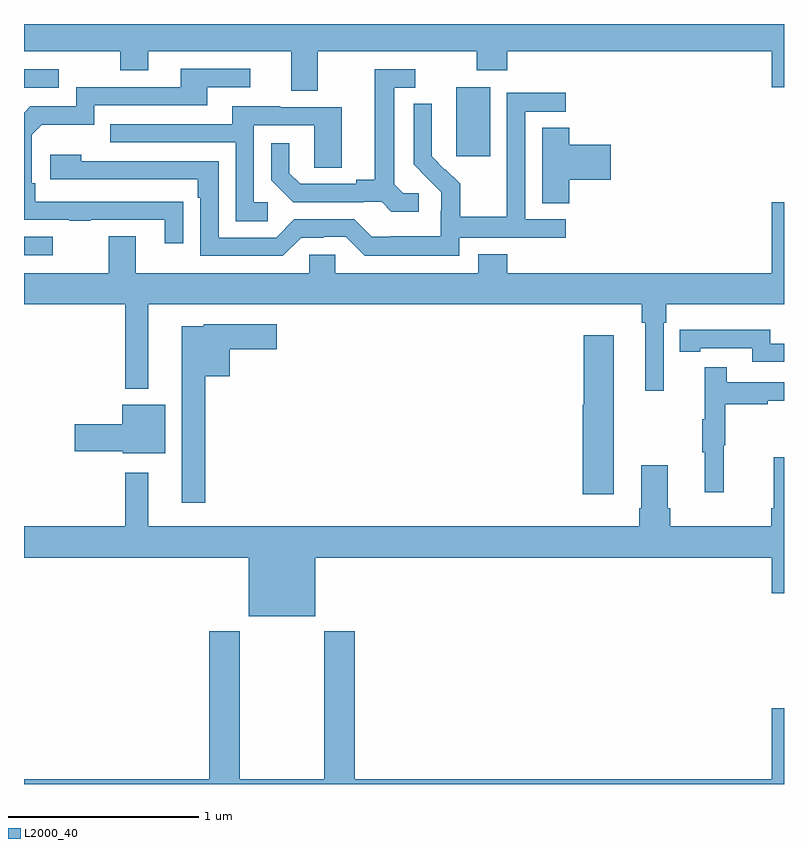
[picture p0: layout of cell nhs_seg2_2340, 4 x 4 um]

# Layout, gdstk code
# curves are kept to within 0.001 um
import gdstk
lib = gdstk.Library(unit=1e-6, precision=1e-09)
def R(c, l, rs):  # rectangles x0, y0, x1, y1
    for r in rs: c.add(gdstk.rectangle(r[:2], r[2:], *l))
def P(c, l, *ps):  # polygons
    for p in ps: c.add(gdstk.Polygon(p, *l))
L2000_40 = (2000, 40)

nhs_seg2_2340 = lib.new_cell('nhs_seg2_2340')
R(nhs_seg2_2340, L2000_40, [(233,626.583,233.152,626.679), (235.274,627.105,235.453,627.466), (233,627.465,233.182,627.561)])
P(nhs_seg2_2340, L2000_40, [(234.547,627.656),(235.384,627.656),(235.384,627.557),(235.544,627.557),(235.544,627.656),(236.936,627.656),(236.936,627.468),(237,627.468),(237,627.8),(233,627.8),(233,627.656),(233.506,627.656),(233.506,627.557),(233.653,627.557),(233.653,627.656),(234.407,627.656),(234.407,627.448),(234.547,627.448)],
  [(233.837,626.864),(233.06,626.865),(233.06,626.962),(233.04,626.962),(233.04,627.216),(233.093,627.269),(233.37,627.269),(233.37,627.372),(233.965,627.372),(233.965,627.468),(234.19,627.468),(234.19,627.564),(233.825,627.564),(233.825,627.468),(233.274,627.468),(233.274,627.366),(233.034,627.366),(233,627.332),(233,626.769),(233.239,626.769),(233.239,626.764),(233.351,626.764),(233.351,626.769),(233.741,626.769),(233.741,626.646),(233.837,626.646)],
  [(235.078,626.91),(234.996,626.91),(234.949,626.957),(234.949,627.465),(235.06,627.465),(235.06,627.561),(234.845,627.561),(234.845,626.981),(234.749,626.981),(234.749,626.958),(234.454,626.958),(234.397,627.015),(234.397,627.172),(234.3,627.172),(234.3,626.978),(234.416,626.862),(234.788,626.862),(234.788,626.865),(234.882,626.865),(234.934,626.813),(235.078,626.813)],
  [(235.29,626.676),(235.852,626.676),(235.852,626.772),(235.638,626.772),(235.638,627.339),(235.852,627.339),(235.852,627.438),(235.542,627.438),(235.542,627.008),(235.54,627.008),(235.54,626.785),(235.295,626.785),(235.295,626.959),(235.218,627.036),(235.215,627.033),(235.145,627.104),(235.146,627.38),(235.05,627.38),(235.05,627.062),(235.196,626.914),(235.196,626.817),(235.194,626.817),(235.194,626.683),(234.931,626.683),(234.931,626.679),(234.831,626.679),(234.738,626.772),(234.423,626.772),(234.327,626.676),(234.024,626.676),(234.024,627.078),(233.3,627.078),(233.3,627.112),(233.139,627.112),(233.139,626.982),(233.915,626.982),(233.915,626.885),(233.928,626.885),(233.928,626.58),(234.363,626.58),(234.459,626.676),(234.578,626.676),(234.578,626.679),(234.693,626.679),(234.793,626.579),(235.29,626.579)],
  [(234.283,626.862),(234.21,626.862),(234.21,627.267),(234.528,627.267),(234.528,627.043),(234.673,627.043),(234.673,627.363),(234.349,627.363),(234.349,627.367),(234.095,627.367),(234.095,627.273),(233.455,627.273),(233.455,627.177),(234.114,627.177),(234.114,626.761),(234.283,626.761)],
  [(235.871,626.981),(236.089,626.981),(236.089,627.164),(235.871,627.164),(235.871,627.254),(235.727,627.254),(235.727,626.857),(235.871,626.857)],
  [(236.367,626.228),(236.381,626.228),(236.381,626.324),(237,626.324),(237,626.863),(236.936,626.863),(236.936,626.488),(235.544,626.488),(235.544,626.587),(235.391,626.587),(235.391,626.488),(234.639,626.488),(234.639,626.586),(234.501,626.586),(234.501,626.488),(233.587,626.488),(233.587,626.683),(233.447,626.683),(233.447,626.488),(233,626.488),(233,626.324),(233.532,626.324),(233.532,625.88),(233.653,625.88),(233.653,626.324),(236.251,626.324),(236.251,626.228),(236.27,626.228),(236.27,625.869),(236.367,625.869)],
  [(233.953,625.946),(234.082,625.946),(234.082,626.087),(234.331,626.087),(234.331,626.221),(233.946,626.221),(233.946,626.209),(233.831,626.209),(233.831,625.281),(233.953,625.281)],
  [(237,626.118),(236.928,626.118),(236.928,626.191),(236.56,626.191),(236.56,626.19),(236.452,626.19),(236.452,626.074),(236.56,626.074),(236.56,626.094),(236.832,626.094),(236.832,626.022),(237,626.022)],
  [(236.104,626.161),(235.946,626.161),(235.946,625.797),(235.94,625.797),(235.94,625.326),(236.104,625.326)],
  [(236.684,625.584),(236.692,625.584),(236.692,625.798),(236.915,625.798),(236.915,625.818),(237,625.818),(237,625.914),(236.699,625.914),(236.699,625.993),(236.582,625.993),(236.582,625.721),(236.571,625.721),(236.571,625.547),(236.582,625.547),(236.582,625.335),(236.684,625.335)],
  [(233.743,625.795),(233.516,625.795),(233.516,625.694),(233.268,625.694),(233.268,625.552),(233.52,625.552),(233.52,625.541),(233.743,625.541)],
  [(234.532,624.992),(236.936,624.992),(236.936,624.804),(237,624.804),(237,625.519),(236.945,625.519),(236.945,625.252),(236.933,625.252),(236.933,625.156),(236.402,625.156),(236.402,625.252),(236.389,625.252),(236.389,625.477),(236.249,625.477),(236.249,625.252),(236.237,625.252),(236.237,625.156),(233.653,625.156),(233.653,625.438),(233.532,625.438),(233.532,625.156),(233,625.156),(233,624.992),(234.182,624.992),(234.182,624.683),(234.532,624.683)],
  [(234.74,624.604),(234.58,624.604),(234.58,623.824),(234.135,623.824),(234.135,624.604),(233.975,624.604),(233.975,623.824),(233,623.824),(233,623.8),(237,623.8),(237,624.199),(236.936,624.199),(236.936,623.824),(234.74,623.824)])

lib.write_gds('nhs_seg2_2340.gds')
